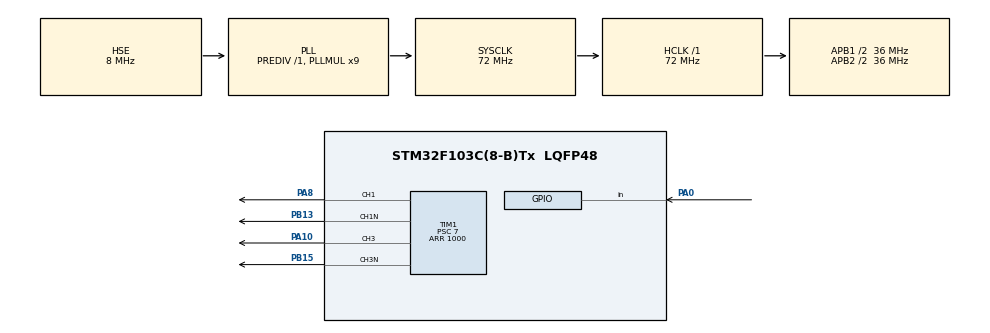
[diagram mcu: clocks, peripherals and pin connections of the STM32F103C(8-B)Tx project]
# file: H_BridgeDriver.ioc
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Dma.Request0=TIM1_CH1
Dma.Request1=TIM1_CH3
Dma.TIM1_CH1.0.Direction=DMA_MEMORY_TO_PERIPH
Dma.TIM1_CH1.0.Instance=DMA1_Channel2
Dma.TIM1_CH1.0.MemDataAlignment=DMA_MDATAALIGN_HALFWORD
Dma.TIM1_CH1.0.MemInc=DMA_MINC_ENABLE
Dma.TIM1_CH1.0.Mode=DMA_CIRCULAR
Dma.TIM1_CH1.0.PeriphDataAlignment=DMA_PDATAALIGN_HALFWORD
Dma.TIM1_CH1.0.PeriphInc=DMA_PINC_DISABLE
Dma.TIM1_CH1.0.Priority=DMA_PRIORITY_LOW
Dma.TIM1_CH3.1.Direction=DMA_MEMORY_TO_PERIPH
Dma.TIM1_CH3.1.Instance=DMA1_Channel6
Dma.TIM1_CH3.1.MemDataAlignment=DMA_MDATAALIGN_HALFWORD
Dma.TIM1_CH3.1.MemInc=DMA_MINC_ENABLE
Dma.TIM1_CH3.1.Mode=DMA_CIRCULAR
Dma.TIM1_CH3.1.PeriphDataAlignment=DMA_PDATAALIGN_HALFWORD
Dma.TIM1_CH3.1.PeriphInc=DMA_PINC_DISABLE
Dma.TIM1_CH3.1.Priority=DMA_PRIORITY_LOW
Mcu.Family=STM32F1
Mcu.Name=STM32F103C(8-B)Tx
Mcu.Package=LQFP48
NVIC.DMA1_Channel2_IRQn=true\:0\:0\:false\:false\:true\:false
NVIC.DMA1_Channel6_IRQn=true\:0\:0\:false\:false\:true\:false
NVIC.PriorityGroup=NVIC_PRIORITYGROUP_4
PA0-WKUP.Signal=GPIO_Input
PA10.Signal=S_TIM1_CH3
PA13.Mode=Serial_Wire
PA13.Signal=SYS_JTMS-SWDIO
PA14.Mode=Serial_Wire
PA14.Signal=SYS_JTCK-SWCLK
PA8.Signal=S_TIM1_CH1
PB13.Mode=Output Compare1 CH1 CH1N
PB13.Signal=TIM1_CH1N
PB15.Mode=Output Compare3 CH3 CH3N
PB15.Signal=TIM1_CH3N
PD0-OSC_IN.Mode=HSE-External-Oscillator
PD0-OSC_IN.Signal=RCC_OSC_IN
PD1-OSC_OUT.Mode=HSE-External-Oscillator
PD1-OSC_OUT.Signal=RCC_OSC_OUT
ProjectManager.HeapSize=0x200
ProjectManager.StackSize=0x400
ProjectManager.TargetToolchain=SW4STM32
RCC.AHBFreq_Value=72000000
RCC.APB1CLKDivider=RCC_HCLK_DIV2
RCC.APB1Freq_Value=36000000
RCC.APB1TimFreq_Value=72000000
RCC.APB2CLKDivider=RCC_HCLK_DIV2
RCC.APB2Freq_Value=36000000
RCC.APB2TimFreq_Value=72000000
RCC.HCLKFreq_Value=72000000
RCC.PLLMUL=RCC_PLL_MUL9
RCC.PLLSourceVirtual=RCC_PLLSOURCE_HSE
RCC.SYSCLKFreq_VALUE=72000000
RCC.SYSCLKSource=RCC_SYSCLKSOURCE_PLLCLK
RCC.USBFreq_Value=72000000
SH.S_TIM1_CH1.0=TIM1_CH1,Output Compare1 CH1 CH1N
SH.S_TIM1_CH3.0=TIM1_CH3,Output Compare3 CH3 CH3N
TIM1.Channel-Output\ Compare1\ CH1\ CH1N=TIM_CHANNEL_1
TIM1.Channel-Output\ Compare3\ CH3\ CH3N=TIM_CHANNEL_3
TIM1.DeadTime=200
TIM1.OCIdleState_1=TIM_OCIDLESTATE_RESET
TIM1.OCNIdleState_1=TIM_OCNIDLESTATE_RESET
TIM1.OCNPolarity_1=TIM_OCNPOLARITY_HIGH
TIM1.OCPolarity_1=TIM_OCPOLARITY_HIGH
TIM1.Period=1000
TIM1.Prescaler=7
board=custom

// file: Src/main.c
/**
  ******************************************************************************
  * @file           : main.c
  * @brief          : Main program body
  ******************************************************************************
  ** This notice applies to any and all portions of this file
  * that are not between comment pairs USER CODE BEGIN and
  * USER CODE END. Other portions of this file, whether
  * inserted by the user or by software development tools
  * are owned by their respective copyright owners.
  *
  * COPYRIGHT(c) 2020 STMicroelectronics
  *
  * Redistribution and use in source and binary forms, with or without modification,
  * are permitted provided that the following conditions are met:
  *   1. Redistributions of source code must retain the above copyright notice,
  *      this list of conditions and the following disclaimer.
  *   2. Redistributions in binary form must reproduce the above copyright notice,
  *      this list of conditions and the following disclaimer in the documentation
  *      and/or other materials provided with the distribution.
  *   3. Neither the name of STMicroelectronics nor the names of its contributors
  *      may be used to endorse or promote products derived from this software
  *      without specific prior written permission.
  *
  * THIS SOFTWARE IS PROVIDED BY THE COPYRIGHT HOLDERS AND CONTRIBUTORS "AS IS"
  * AND ANY EXPRESS OR IMPLIED WARRANTIES, INCLUDING, BUT NOT LIMITED TO, THE
  * IMPLIED WARRANTIES OF MERCHANTABILITY AND FITNESS FOR A PARTICULAR PURPOSE ARE
  * DISCLAIMED. IN NO EVENT SHALL THE COPYRIGHT HOLDER OR CONTRIBUTORS BE LIABLE
  * FOR ANY DIRECT, INDIRECT, INCIDENTAL, SPECIAL, EXEMPLARY, OR CONSEQUENTIAL
  * DAMAGES (INCLUDING, BUT NOT LIMITED TO, PROCUREMENT OF SUBSTITUTE GOODS OR
  * SERVICES; LOSS OF USE, DATA, OR PROFITS; OR BUSINESS INTERRUPTION) HOWEVER
  * CAUSED AND ON ANY THEORY OF LIABILITY, WHETHER IN CONTRACT, STRICT LIABILITY,
  * OR TORT (INCLUDING NEGLIGENCE OR OTHERWISE) ARISING IN ANY WAY OUT OF THE USE
  * OF THIS SOFTWARE, EVEN IF ADVISED OF THE POSSIBILITY OF SUCH DAMAGE.
  *
  ******************************************************************************
  */
#include "main.h"
#include "stm32f1xx_hal.h"

/* USER CODE BEGIN Includes */
#include "timer.h"
#include "dma.h"
/* USER CODE END Includes */

TIM_HandleTypeDef htim1;
DMA_HandleTypeDef hdma_tim1_ch1;
DMA_HandleTypeDef hdma_tim1_ch3;

/* USER CODE BEGIN PV */
/* Private variables ---------------------------------------------------------*/

/* USER CODE END PV */

void SystemClock_Config(void);
static void MX_GPIO_Init(void);
static void MX_DMA_Init(void);
static void MX_TIM1_Init(void);
void HAL_TIM_MspPostInit(TIM_HandleTypeDef *htim);

/* USER CODE BEGIN PFP */
//void setTimerOutputPulsePeriod(TIM_HandleTypeDef *timer,uint32_t channel,uint16_t prescaler,uint32_t arrVal,uint32_t outputCompareVal);
/* Private function prototypes -----------------------------------------------*/
/* USER CODE END PFP */

/* USER CODE BEGIN 0 */

int ARR_VAL;
int PSC_VAL;
uint16_t bufferCCR1[2] = {300,100};
uint16_t bufferCCR2[2] = {300,100};
uint16_t bufferCCR3[2] = {650,550};

/* USER CODE END 0 */

int main(void)
{

  /* MCU Configuration----------------------------------------------------------*/

  /* Reset of all peripherals, Initializes the Flash interface and the Systick. */
  HAL_Init();

  /* Configure the system clock */
  SystemClock_Config();

  /* Initialize all configured peripherals */
  MX_GPIO_Init();
  MX_DMA_Init();
  MX_TIM1_Init();
  /* USER CODE BEGIN 2 */

  //volatile int *dummy =  &(bufferCCR1[1]);

  timer_Init();
  dma_Init();
  setCounterValue(0);
  setTimerCCRVal(&htim1,channel_1,0);
  setTimerCCRVal(&htim1,channel_3,0);

  reset_deadtime_dtg_bits();
  setDeadTime_ns(250);

  setPrescalerValue(1);//APB2 CLK frequency is 32MHz. Please double check again.
  setTimerOutputFrequency_Hz(10*kHz);
  setTimer1Chn1_OutputDutyCycle(50);
  setTimer1Chn3_OutputDutyCycle(50);
  setOffSet_Chn3(35);//set the duty cycle of the signal first, then only setOffset.

  Enable_dma_timer1Ch1();//Enable dma timer 1 channel 1
  Enable_dma_timer1Ch3();//Enable dma timer 1 channel 3

  enable_tim1Chn1_complementaryOC();//Enable timer1 chn1 complementary output compare
  enable_tim1Chn3_complementaryOC();//Enable timer1 chn2 complementary output compare
  enable_tim1Chn1_OC();//Enable timer1 chn1 output compare
  enable_tim1Chn3_OC();//Enable timer1 chn3 output compare

  enable_mainOutput();//Main output enable
  while(HAL_GPIO_ReadPin(GPIOA,GPIO_PIN_0) != GPIO_PIN_RESET){};
  enable_counter();//counter enable
  enable_dma_cap_com_request(dma_ccr1_request_en|dma_ccr3_request_en);
  //htim1.Instance->DIER |= dma_ccr1_request_en|dma_ccr3_request_en;	//Enable Capture Compare 1 DMA request,Enable Capture Compare 3 DMA request

  /* USER CODE END 2 */

  /* Infinite loop */
  while (1)
  {

  }

}

void SystemClock_Config(void)
{

  RCC_OscInitTypeDef RCC_OscInitStruct;
  RCC_ClkInitTypeDef RCC_ClkInitStruct;

    /**Initializes the CPU, AHB and APB busses clocks
    */
  RCC_OscInitStruct.OscillatorType = RCC_OSCILLATORTYPE_HSE;
  RCC_OscInitStruct.HSEState = RCC_HSE_ON;
  RCC_OscInitStruct.HSEPredivValue = RCC_HSE_PREDIV_DIV1;
  RCC_OscInitStruct.HSIState = RCC_HSI_ON;
  RCC_OscInitStruct.PLL.PLLState = RCC_PLL_ON;
  RCC_OscInitStruct.PLL.PLLSource = RCC_PLLSOURCE_HSE;
  RCC_OscInitStruct.PLL.PLLMUL = RCC_PLL_MUL9;
  if (HAL_RCC_OscConfig(&RCC_OscInitStruct) != HAL_OK)
  {
    _Error_Handler(__FILE__, __LINE__);
  }

    /**Initializes the CPU, AHB and APB busses clocks
    */
  RCC_ClkInitStruct.ClockType = RCC_CLOCKTYPE_HCLK|RCC_CLOCKTYPE_SYSCLK
                              |RCC_CLOCKTYPE_PCLK1|RCC_CLOCKTYPE_PCLK2;
  RCC_ClkInitStruct.SYSCLKSource = RCC_SYSCLKSOURCE_PLLCLK;
  RCC_ClkInitStruct.AHBCLKDivider = RCC_SYSCLK_DIV1;
  RCC_ClkInitStruct.APB1CLKDivider = RCC_HCLK_DIV2;
  RCC_ClkInitStruct.APB2CLKDivider = RCC_HCLK_DIV2;

  if (HAL_RCC_ClockConfig(&RCC_ClkInitStruct, FLASH_LATENCY_2) != HAL_OK)
  {
    _Error_Handler(__FILE__, __LINE__);
  }

    /**Configure the Systick interrupt time
    */
  HAL_SYSTICK_Config(HAL_RCC_GetHCLKFreq()/1000);

    /**Configure the Systick
    */
  HAL_SYSTICK_CLKSourceConfig(SYSTICK_CLKSOURCE_HCLK);

  /* SysTick_IRQn interrupt configuration */
  HAL_NVIC_SetPriority(SysTick_IRQn, 0, 0);
}

/* TIM1 init function */
static void MX_TIM1_Init(void)
{

  TIM_MasterConfigTypeDef sMasterConfig;
  TIM_OC_InitTypeDef sConfigOC;
  TIM_BreakDeadTimeConfigTypeDef sBreakDeadTimeConfig;

  htim1.Instance = TIM1;
  htim1.Init.Prescaler = 7;
  htim1.Init.CounterMode = TIM_COUNTERMODE_UP;
  htim1.Init.Period = 1000;
  htim1.Init.ClockDivision = TIM_CLOCKDIVISION_DIV1;
  htim1.Init.RepetitionCounter = 0;
  htim1.Init.AutoReloadPreload = TIM_AUTORELOAD_PRELOAD_DISABLE;
  if (HAL_TIM_OC_Init(&htim1) != HAL_OK)
  {
    _Error_Handler(__FILE__, __LINE__);
  }

  sMasterConfig.MasterOutputTrigger = TIM_TRGO_RESET;
  sMasterConfig.MasterSlaveMode = TIM_MASTERSLAVEMODE_DISABLE;
  if (HAL_TIMEx_MasterConfigSynchronization(&htim1, &sMasterConfig) != HAL_OK)
  {
    _Error_Handler(__FILE__, __LINE__);
  }

  sConfigOC.OCMode = TIM_OCMODE_TIMING;
  sConfigOC.Pulse = 0;
  sConfigOC.OCPolarity = TIM_OCPOLARITY_HIGH;
  sConfigOC.OCNPolarity = TIM_OCNPOLARITY_HIGH;
  sConfigOC.OCFastMode = TIM_OCFAST_DISABLE;
  sConfigOC.OCIdleState = TIM_OCIDLESTATE_RESET;
  sConfigOC.OCNIdleState = TIM_OCNIDLESTATE_RESET;
  if (HAL_TIM_OC_ConfigChannel(&htim1, &sConfigOC, TIM_CHANNEL_1) != HAL_OK)
  {
    _Error_Handler(__FILE__, __LINE__);
  }

  if (HAL_TIM_OC_ConfigChannel(&htim1, &sConfigOC, TIM_CHANNEL_3) != HAL_OK)
  {
    _Error_Handler(__FILE__, __LINE__);
  }

  sBreakDeadTimeConfig.OffStateRunMode = TIM_OSSR_DISABLE;
  sBreakDeadTimeConfig.OffStateIDLEMode = TIM_OSSI_DISABLE;
  sBreakDeadTimeConfig.LockLevel = TIM_LOCKLEVEL_OFF;
  sBreakDeadTimeConfig.DeadTime = 200;
  sBreakDeadTimeConfig.BreakState = TIM_BREAK_DISABLE;
  sBreakDeadTimeConfig.BreakPolarity = TIM_BREAKPOLARITY_HIGH;
  sBreakDeadTimeConfig.AutomaticOutput = TIM_AUTOMATICOUTPUT_DISABLE;
  if (HAL_TIMEx_ConfigBreakDeadTime(&htim1, &sBreakDeadTimeConfig) != HAL_OK)
  {
    _Error_Handler(__FILE__, __LINE__);
  }

  HAL_TIM_MspPostInit(&htim1);

}

static void MX_DMA_Init(void)
{
  /* DMA controller clock enable */
  __HAL_RCC_DMA1_CLK_ENABLE();

  /* DMA interrupt init */
  /* DMA1_Channel2_IRQn interrupt configuration */
  HAL_NVIC_SetPriority(DMA1_Channel2_IRQn, 0, 0);
  HAL_NVIC_EnableIRQ(DMA1_Channel2_IRQn);
  /* DMA1_Channel6_IRQn interrupt configuration */
  HAL_NVIC_SetPriority(DMA1_Channel6_IRQn, 0, 0);
  HAL_NVIC_EnableIRQ(DMA1_Channel6_IRQn);

}

/** Configure pins as
        * Analog
        * Input
        * Output
        * EVENT_OUT
        * EXTI
*/
static void MX_GPIO_Init(void)
{

  GPIO_InitTypeDef GPIO_InitStruct;

  /* GPIO Ports Clock Enable */
  __HAL_RCC_GPIOD_CLK_ENABLE();
  __HAL_RCC_GPIOA_CLK_ENABLE();
  __HAL_RCC_GPIOB_CLK_ENABLE();

  /*Configure GPIO pin : PA0 */
  GPIO_InitStruct.Pin = GPIO_PIN_0;
  GPIO_InitStruct.Mode = GPIO_MODE_INPUT;
  GPIO_InitStruct.Pull = GPIO_NOPULL;
  HAL_GPIO_Init(GPIOA, &GPIO_InitStruct);

}

void _Error_Handler(char *file, int line)
{
  while(1)
  {
  }
}

/************************ (C) COPYRIGHT STMicroelectronics *****END OF FILE****/
